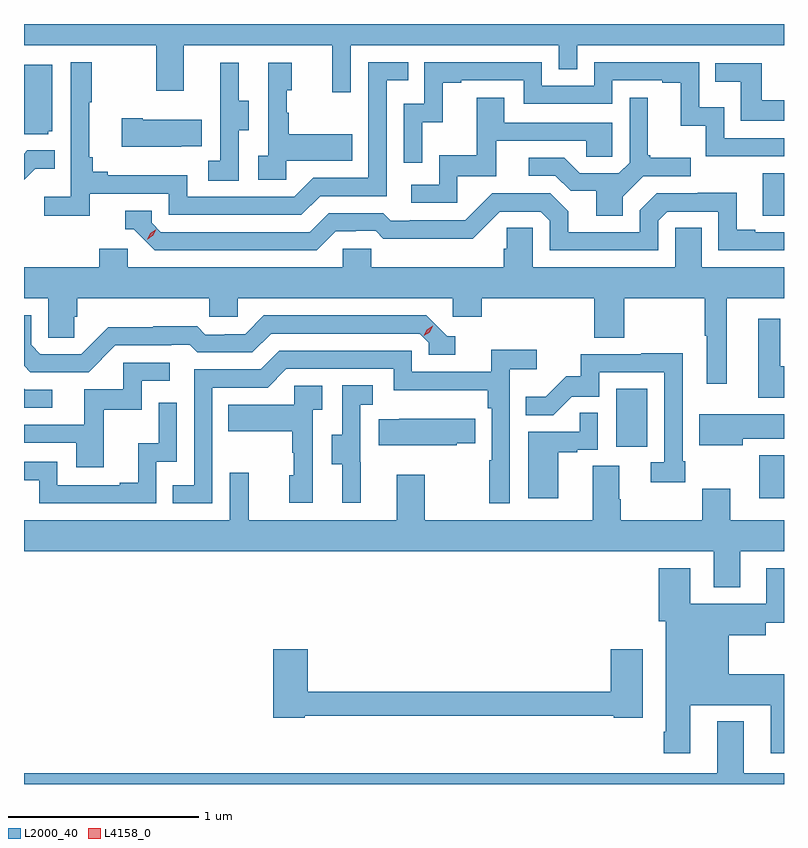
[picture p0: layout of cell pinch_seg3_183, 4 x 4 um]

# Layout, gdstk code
import gdstk
lib = gdstk.Library(unit=1e-6, precision=1e-09)
def R(c, l, rs):  # rectangles x0, y0, x1, y1
    for r in rs: c.add(gdstk.rectangle(r[:2], r[2:], *l))
def P(c, l, *ps):  # polygons
    for p in ps: c.add(gdstk.Polygon(p, *l))
L2000_40 = (2000, 40)
L4158_0 = (4158, 0)

pinch_seg3_183 = lib.new_cell('pinch_seg3_183')
R(pinch_seg3_183, L2000_40, [(1002.389,734.496,1002.519,734.721), (1001.636,734.766,1001.8,735.073), (1002.407,735.982,1002.519,736.206)])
P(pinch_seg3_183, L2000_40, [(1000.239,736.88),(1001.334,736.88),(1001.334,736.753),(1001.43,736.753),(1001.43,736.88),(1002.519,736.88),(1002.519,736.992),(998.519,736.992),(998.519,736.88),(999.214,736.88),(999.214,736.641),(999.361,736.641),(999.361,736.88),(1000.142,736.88),(1000.142,736.632),(1000.239,736.632)],
  [(998.864,736.098),(999.282,736.098),(999.282,735.987),(999.979,735.987),(1000.078,736.086),(1000.428,736.086),(1000.428,736.695),(1000.541,736.695),(1000.541,736.791),(1000.332,736.791),(1000.332,736.182),(1000.041,736.182),(999.942,736.083),(999.378,736.083),(999.378,736.195),(998.959,736.195),(998.959,736.214),(998.882,736.214),(998.882,736.291),(998.863,736.291),(998.863,736.579),(998.875,736.579),(998.875,736.792),(998.766,736.792),(998.766,736.084),(998.625,736.084),(998.625,735.982),(998.864,735.982)],
  [(1000.614,736.475),(1000.724,736.475),(1000.724,736.683),(1000.819,736.683),(1000.819,736.695),(1001.148,736.695),(1001.148,736.572),(1001.616,736.572),(1001.616,736.695),(1001.879,736.695),(1001.879,736.683),(1001.975,736.683),(1001.975,736.457),(1002.108,736.457),(1002.108,736.296),(1002.519,736.296),(1002.519,736.392),(1002.204,736.392),(1002.204,736.555),(1002.072,736.555),(1002.072,736.791),(1001.52,736.791),(1001.52,736.668),(1001.244,736.668),(1001.244,736.791),(1000.626,736.791),(1000.626,736.572),(1000.518,736.572),(1000.518,736.263),(1000.614,736.263)],
  [(999.9,736.271),(1000.247,736.271),(1000.247,736.411),(999.913,736.411),(999.913,736.526),(999.903,736.526),(999.903,736.644),(999.928,736.644),(999.928,736.789),(999.804,736.789),(999.804,736.298),(999.753,736.298),(999.753,736.173),(999.9,736.173)],
  [(999.648,736.432),(999.703,736.432),(999.703,736.587),(999.649,736.587),(999.649,736.789),(999.551,736.789),(999.551,736.575),(999.552,736.575),(999.552,736.271),(999.489,736.271),(999.489,736.168),(999.648,736.168)],
  [(1002.519,736.591),(1002.403,736.591),(1002.403,736.785),(1002.157,736.785),(1002.157,736.688),(1002.292,736.688),(1002.292,736.482),(1002.519,736.482)],
  [(998.646,736.428),(998.668,736.428),(998.668,736.777),(998.519,736.777),(998.519,736.413),(998.646,736.413)],
  [(1001.671,736.084),(1001.778,736.191),(1002.028,736.191),(1002.028,736.288),(1001.815,736.288),(1001.815,736.3),(1001.803,736.3),(1001.803,736.603),(1001.706,736.603),(1001.706,736.263),(1001.649,736.206),(1001.443,736.206),(1001.362,736.287),(1001.175,736.287),(1001.175,736.194),(1001.316,736.194),(1001.396,736.114),(1001.531,736.114),(1001.531,735.982),(1001.671,735.982)],
  [(1000.8,736.191),(1001.005,736.191),(1001.005,736.377),(1001.479,736.377),(1001.479,736.293),(1001.616,736.293),(1001.616,736.473),(1001.047,736.473),(1001.047,736.603),(1000.903,736.603),(1000.903,736.3),(1000.704,736.3),(1000.704,736.146),(1000.557,736.146),(1000.557,736.05),(1000.8,736.05)],
  [(999.347,736.349),(999.455,736.349),(999.455,736.489),(999.145,736.489),(999.145,736.497),(999.033,736.497),(999.033,736.346),(999.347,736.346)],
  [(998.577,736.229),(998.681,736.229),(998.681,736.328),(998.537,736.328),(998.519,736.31),(998.519,736.171)],
  [(1000.159,735.9),(1000.266,735.9),(1000.266,735.903),(1000.369,735.903),(1000.411,735.861),(1000.644,735.861),(1000.644,735.863),(1000.88,735.863),(1001.022,736.005),(1001.238,736.005),(1001.286,735.957),(1001.286,735.801),(1001.856,735.801),(1001.856,735.957),(1001.904,736.005),(1002.174,736.005),(1002.174,735.801),(1002.519,735.801),(1002.519,735.897),(1002.367,735.897),(1002.367,735.91),(1002.271,735.91),(1002.271,736.103),(1002.066,736.103),(1002.066,736.101),(1001.85,736.101),(1001.76,736.011),(1001.76,735.897),(1001.383,735.897),(1001.383,736.007),(1001.289,736.101),(1000.983,736.101),(1000.842,735.96),(1000.549,735.96),(1000.549,735.957),(1000.45,735.957),(1000.411,735.996),(1000.122,735.996),(1000.023,735.897),(999.24,735.897),(999.192,735.945),(999.192,736.008),(999.053,736.008),(999.053,735.912),(999.096,735.912),(999.207,735.801),(1000.06,735.801)],
  [(1002.217,735.548),(1002.519,735.548),(1002.519,735.712),(1002.085,735.712),(1002.085,735.92),(1001.946,735.92),(1001.946,735.712),(1001.196,735.712),(1001.196,735.92),(1001.059,735.92),(1001.059,735.81),(1001.045,735.81),(1001.045,735.712),(1000.347,735.712),(1000.347,735.81),(1000.197,735.81),(1000.197,735.712),(999.066,735.712),(999.066,735.81),(998.915,735.81),(998.915,735.712),(998.519,735.712),(998.519,735.548),(998.646,735.548),(998.646,735.34),(998.783,735.34),(998.783,735.45),(998.798,735.45),(998.798,735.548),(999.495,735.548),(999.495,735.45),(999.645,735.45),(999.645,735.548),(1000.776,735.548),(1000.776,735.45),(1000.928,735.45),(1000.928,735.548),(1001.519,735.548),(1001.519,735.34),(1001.679,735.34),(1001.679,735.548),(1002.103,735.548),(1002.103,735.352),(1002.113,735.352),(1002.113,735.099),(1002.217,735.099)],
  [(999,735.3),(999.293,735.3),(999.293,735.303),(999.392,735.303),(999.431,735.264),(999.72,735.264),(999.819,735.363),(1000.602,735.363),(1000.65,735.315),(1000.65,735.252),(1000.789,735.252),(1000.789,735.348),(1000.746,735.348),(1000.635,735.459),(999.782,735.459),(999.683,735.36),(999.576,735.36),(999.576,735.357),(999.473,735.357),(999.431,735.4),(999.198,735.4),(999.198,735.397),(998.962,735.397),(998.82,735.255),(998.604,735.255),(998.556,735.303),(998.556,735.459),(998.519,735.459),(998.519,735.193),(998.553,735.159),(998.859,735.159)],
  [(1002.519,735.19),(1002.499,735.19),(1002.499,735.442),(1002.383,735.442),(1002.383,735.026),(1002.519,735.026)],
  [(999.51,735.078),(999.801,735.078),(999.9,735.177),(1000.464,735.177),(1000.464,735.065),(1000.96,735.065),(1000.96,734.969),(1000.98,734.969),(1000.98,734.696),(1000.968,734.696),(1000.968,734.469),(1001.076,734.469),(1001.076,735.176),(1001.218,735.176),(1001.218,735.278),(1000.979,735.278),(1000.979,735.162),(1000.56,735.162),(1000.56,735.273),(999.863,735.273),(999.764,735.174),(999.414,735.174),(999.414,734.565),(999.301,734.565),(999.301,734.469),(999.51,734.469)],
  [(1001.998,734.692),(1001.985,734.692),(1001.985,735.26),(1001.767,735.26),(1001.767,735.255),(1001.449,735.255),(1001.449,735.138),(1001.372,735.138),(1001.265,735.031),(1001.161,735.031),(1001.161,734.932),(1001.305,734.932),(1001.403,735.03),(1001.547,735.03),(1001.547,735.159),(1001.889,735.159),(1001.889,734.685),(1001.817,734.685),(1001.817,734.58),(1001.998,734.58)],
  [(998.939,734.961),(999.138,734.961),(999.138,735.114),(999.286,735.114),(999.286,735.21),(999.042,735.21),(999.042,735.069),(998.837,735.069),(998.837,734.883),(998.519,734.883),(998.519,734.787),(998.795,734.787),(998.795,734.658),(998.939,734.658)],
  [(1000.292,734.685),(1000.29,734.685),(1000.29,734.989),(1000.354,734.989),(1000.354,735.092),(1000.194,735.092),(1000.194,734.829),(1000.139,734.829),(1000.139,734.674),(1000.193,734.674),(1000.193,734.472),(1000.292,734.472)],
  [(1000.038,734.963),(1000.09,734.963),(1000.09,735.087),(999.942,735.087),(999.942,734.989),(999.595,734.989),(999.595,734.849),(999.93,734.849),(999.93,734.735),(999.94,734.735),(999.94,734.616),(999.914,734.616),(999.914,734.472),(1000.038,734.472)],
  [(998.668,735.066),(998.526,735.066),(998.519,735.073),(998.519,734.973),(998.668,734.973)],
  [(999.216,734.688),(999.324,734.688),(999.324,734.998),(999.228,734.998),(999.228,734.786),(999.119,734.786),(999.119,734.578),(999.023,734.578),(999.023,734.565),(998.694,734.565),(998.694,734.688),(998.519,734.688),(998.519,734.592),(998.598,734.592),(998.598,734.469),(999.216,734.469)],
  [(1001.332,734.739),(1001.432,734.739),(1001.432,734.751),(1001.538,734.751),(1001.538,734.945),(1001.443,734.945),(1001.443,734.847),(1001.174,734.847),(1001.174,734.496),(1001.332,734.496)],
  [(1002.301,734.81),(1002.519,734.81),(1002.519,734.938),(1002.072,734.938),(1002.072,734.774),(1002.301,734.774)],
  [(1000.797,734.785),(1000.895,734.785),(1000.895,734.914),(1000.495,734.914),(1000.495,734.911),(1000.387,734.911),(1000.387,734.774),(1000.797,734.774)],
  [(1002.289,734.216),(1002.519,734.216),(1002.519,734.38),(1002.235,734.38),(1002.235,734.545),(1002.088,734.545),(1002.088,734.38),(1001.661,734.38),(1001.661,734.492),(1001.653,734.492),(1001.653,734.666),(1001.513,734.666),(1001.513,734.38),(1000.629,734.38),(1000.629,734.62),(1000.481,734.62),(1000.481,734.38),(999.701,734.38),(999.701,734.629),(999.603,734.629),(999.603,734.38),(998.519,734.38),(998.519,734.216),(1002.149,734.216),(1002.149,734.027),(1002.289,734.027)],
  [(1002.025,733.406),(1002.449,733.406),(1002.449,733.155),(1002.519,733.155),(1002.519,733.57),(1002.229,733.57),(1002.229,733.775),(1002.424,733.775),(1002.424,733.84),(1002.519,733.84),(1002.519,734.128),(1002.425,734.128),(1002.425,733.942),(1002.025,733.942),(1002.025,734.128),(1001.861,734.128),(1001.861,733.848),(1001.897,733.848),(1001.897,733.267),(1001.885,733.267),(1001.885,733.155),(1002.025,733.155)],
  [(999.996,733.35),(1001.622,733.35),(1001.622,733.342),(1001.776,733.342),(1001.776,733.702),(1001.606,733.702),(1001.606,733.478),(1000.013,733.478),(1000.013,733.702),(999.83,733.702),(999.83,733.342),(999.996,733.342)],
  [(1002.519,733.048),(1002.307,733.048),(1002.307,733.321),(1002.167,733.321),(1002.167,733.048),(998.519,733.048),(998.519,732.992),(1002.519,732.992)])
P(pinch_seg3_183, L4158_0, [(999.168,735.859),(999.168,735.859),(999.184,735.892),(999.215,735.912),(999.215,735.912),(999.215,735.912),(999.199,735.879),(999.169,735.859)],
  [(1000.624,735.35),(1000.624,735.35),(1000.64,735.384),(1000.67,735.404),(1000.67,735.404),(1000.67,735.403),(1000.655,735.37),(1000.624,735.35)])

lib.write_gds('pinch_seg3_183.gds')
